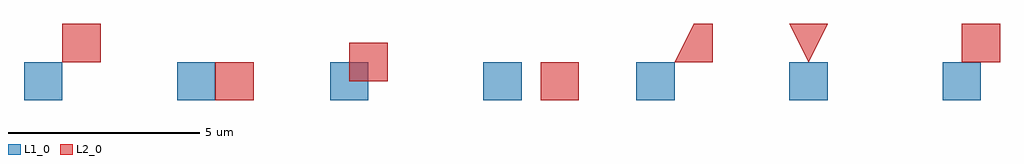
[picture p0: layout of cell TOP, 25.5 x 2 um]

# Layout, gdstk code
import gdstk
lib = gdstk.Library(unit=1e-6, precision=1e-09)
def R(c, l, rs):  # rectangles x0, y0, x1, y1
    for r in rs: c.add(gdstk.rectangle(r[:2], r[2:], *l))
def A(c, l, x, y, w, h, nx, ny, dx, dy):  # array of equal rectangles
    R(c, l, [(x+i*dx, y+j*dy, x+i*dx+w, y+j*dy+h) for i in range(nx) for j in range(ny)])
def P(c, l, *ps):  # polygons
    for p in ps: c.add(gdstk.Polygon(p, *l))
L1_0 = (1, 0)
L2_0 = (2, 0)

top = lib.new_cell('TOP')
A(top, L1_0, 0, 0, 1, 1, 7, 1, 4, 0)
R(top, L2_0, [(5,0,6,1), (13.5,0,14.5,1), (8.5,0.5,9.5,1.5), (1,1,2,2), (24.5,1,25.5,2)])
P(top, L2_0, [(17,1),(17.5,2),(18,2),(18,1)],
  [(20.5,1),(20,2),(21,2)])

lib.write_gds('TOP.gds')
